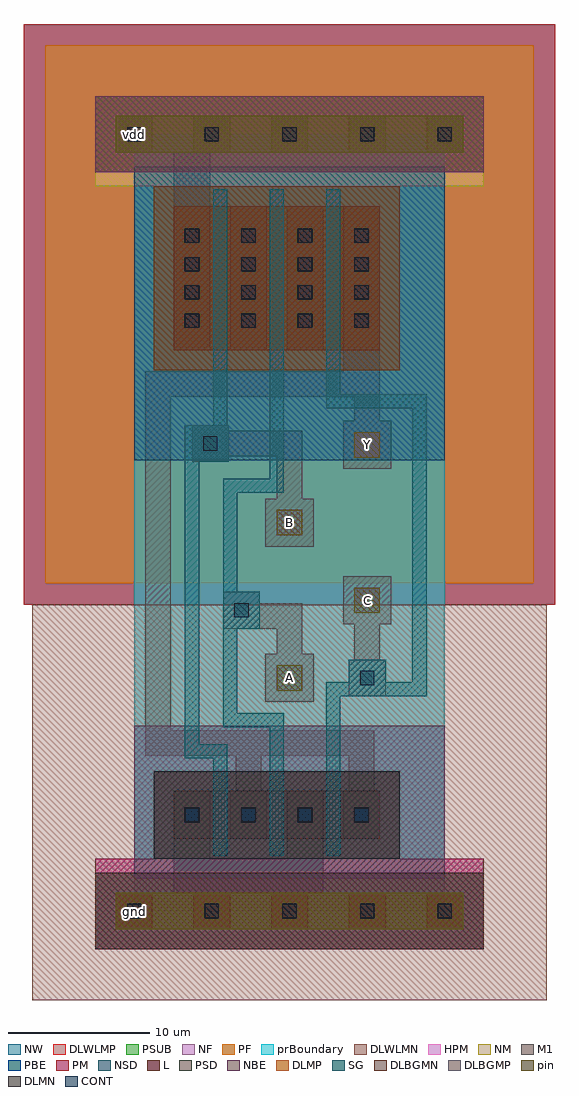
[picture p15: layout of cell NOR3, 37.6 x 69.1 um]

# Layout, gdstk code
import gdstk
lib = gdstk.Library(unit=1e-6, precision=1e-09)
def R(c, l, rs):  # rectangles x0, y0, x1, y1
    for r in rs: c.add(gdstk.rectangle(r[:2], r[2:], *l))
def A(c, l, x, y, w, h, nx, ny, dx, dy):  # array of equal rectangles
    R(c, l, [(x+i*dx, y+j*dy, x+i*dx+w, y+j*dy+h) for i in range(nx) for j in range(ny)])
def P(c, l, *ps):  # polygons
    for p in ps: c.add(gdstk.Polygon(p, *l))
L = (3, 0)
NM = (7, 0)
SG = (8, 0)
PSD = (9, 0)
CONT = (11, 0)
M1 = (13, 0)
NF = (25, 0)
PF = (26, 0)
NSD = (28, 0)
HPM = (33, 0)
PM = (35, 0)
NW = (36, 0)
pin = (48, 1)
PSUB = (140, 0)
PBE = (146, 0)
NBE = (147, 0)
DLWLMP = (150, 0)
DLWLMN = (151, 0)
DLMP = (157, 0)
DLMN = (158, 0)
DLBGMP = (177, 0)
DLBGMN = (178, 0)
prBoundary = (235, 0)

nor3 = lib.new_cell('NOR3')
A(nor3, L, -1.3, -1.3, 2.6, 2.6, 5, 2, 5.5, 55)
R(nor3, L, [(2.8,5.1,17.4,8.5), (2.8,39.7,17.4,49.9)])
R(nor3, NM, [(-2.75,-2.7,24.75,2.7)])
P(nor3, NM, [(1.4,38.3),(1.4,51.3),(-2.75,51.3),(-2.75,57.7),(24.75,57.7),(24.75,51.3),(18.8,51.3),(18.8,38.3)])
P(nor3, SG, [(5.6,3.9),(5.6,10.8),(3.6,10.8),(3.6,34.4),(5.6,34.4),(5.6,51.1),(6.6,51.1),(6.6,34.4),(6.7,34.4),(6.7,31.8),(4.6,31.8),(4.6,11.8),(6.6,11.8),(6.6,3.9)],
  [(9.6,3.9),(9.6,13),(6.3,13),(6.3,30.6),(9.6,30.6),(9.6,51.1),(10.6,51.1),(10.6,29.6),(7.3,29.6),(7.3,22.6),(8.9,22.6),(8.9,20),(7.3,20),(7.3,14),(10.6,14),(10.6,3.9)],
  [(13.6,3.9),(13.6,16.2),(15.2,16.2),(15.2,17.8),(17.8,17.8),(17.8,16.2),(19.7,16.2),(19.7,35.6),(13.6,35.6),(13.6,51.1),(14.6,51.1),(14.6,36.6),(20.7,36.6),(20.7,15.2),(14.6,15.2),(14.6,3.9)])
R(nor3, PSD, [(1.4,3.7,18.8,9.9), (-2.75,52.3,24.75,57.7)])
A(nor3, CONT, -0.5, -0.5, 1, 1, 5, 2, 5.5, 55)
A(nor3, CONT, 3.6, 41.3, 1, 1, 1, 4, 0, 2)
A(nor3, CONT, 15.6, 41.3, 1, 1, 1, 4, 0, 2)
R(nor3, CONT, [(3.6,6.3,4.6,7.3), (7.6,6.3,8.6,7.3), (7.6,6.3,8.6,7.3), (11.6,6.3,12.6,7.3), (11.6,6.3,12.6,7.3), (15.6,6.3,16.6,7.3), (16,16,17,17), (7.1,20.8,8.1,21.8), (4.9,32.6,5.9,33.6), (7.6,41.3,8.6,42.3), (7.6,41.3,8.6,42.3), (11.6,41.3,12.6,42.3), (11.6,41.3,12.6,42.3), (7.6,43.3,8.6,44.3), (7.6,43.3,8.6,44.3), (11.6,43.3,12.6,44.3), (11.6,43.3,12.6,44.3), (7.6,45.3,8.6,46.3), (7.6,45.3,8.6,46.3), (11.6,45.3,12.6,46.3), (11.6,45.3,12.6,46.3), (7.6,47.3,8.6,48.3), (7.6,47.3,8.6,48.3), (11.6,47.3,12.6,48.3), (11.6,47.3,12.6,48.3)])
R(nor3, M1, [(6.8,39.7,9.4,49.9), (10.8,39.7,13.4,49.9)])
P(nor3, M1, [(-1.3,-1.3),(-1.3,1.3),(2.8,1.3),(2.8,8.5),(5.4,8.5),(5.4,3.7),(10.8,3.7),(10.8,8.5),(13.4,8.5),(13.4,1.3),(23.3,1.3),(23.3,-1.3)],
  [(9.3,14.8),(9.3,18.2),(10.1,18.2),(10.1,20),(6.3,20),(6.3,22.6),(8.9,22.6),(8.9,21.8),(11.9,21.8),(11.9,18.2),(12.7,18.2),(12.7,14.8)],
  [(15.2,15.2),(15.2,17.8),(15.6,17.8),(15.6,20.3),(14.8,20.3),(14.8,23.7),(18.2,23.7),(18.2,20.3),(17.4,20.3),(17.4,17.8),(17.8,17.8),(17.8,15.2)],
  [(9.3,25.8),(9.3,29.2),(10.1,29.2),(10.1,32.2),(6.7,32.2),(6.7,31.8),(4.1,31.8),(4.1,34.4),(6.7,34.4),(6.7,34),(11.9,34),(11.9,29.2),(12.7,29.2),(12.7,25.8)],
  [(6.8,5.1),(6.8,8.5),(7.2,8.5),(7.2,11),(0.8,11),(0.8,38.2),(14.8,38.2),(14.8,49.9),(17.4,49.9),(17.4,34.7),(18.2,34.7),(18.2,31.3),(14.8,31.3),(14.8,34.7),(15.6,34.7),(15.6,36.4),(2.6,36.4),(2.6,12.8),(17,12.8),(17,8.5),(17.4,8.5),(17.4,5.1),(14.8,5.1),(14.8,8.5),(15.2,8.5),(15.2,11),(9,11),(9,8.5),(9.4,8.5),(9.4,5.1)],
  [(2.8,39.7),(2.8,53.7),(-1.3,53.7),(-1.3,56.3),(23.3,56.3),(23.3,53.7),(5.4,53.7),(5.4,39.7)])
R(nor3, NF, [(-6.3,23.2,28.3,61.3)])
R(nor3, PF, [(-6.3,23.2,28.3,61.3)])
R(nor3, NSD, [(-2.75,-2.7,24.75,2.7), (1.4,38.3,18.8,51.3)])
P(nor3, HPM, [(-2.75,-2.7),(-2.75,3.7),(1.4,3.7),(1.4,9.9),(18.8,9.9),(18.8,3.7),(24.75,3.7),(24.75,-2.7)],
  [(1.4,38.3),(1.4,51.3),(-2.75,51.3),(-2.75,57.7),(24.75,57.7),(24.75,51.3),(18.8,51.3),(18.8,38.3)])
R(nor3, PM, [(-2.75,52.3,24.75,57.7)])
P(nor3, PM, [(-2.75,-2.7),(-2.75,3.7),(1.4,3.7),(1.4,9.9),(18.8,9.9),(18.8,3.7),(24.75,3.7),(24.75,-2.7)])
R(nor3, NW, [(-7.8,21.7,29.8,62.8)])
R(nor3, pin, [(-1.3,-1.3,23.3,1.3), (10.1,15.6,11.9,17.4), (15.6,21.1,17.4,22.9), (10.1,26.6,11.9,28.4), (15.6,32.1,17.4,33.9), (-1.3,53.7,23.3,56.3)])
R(nor3, PSUB, [(-6.3,23.2,28.3,61.3)])
R(nor3, PBE, [(0,31.9,22,52.7)])
R(nor3, NBE, [(0,2.3,22,13.1)])
R(nor3, DLWLMP, [(-7.8,21.7,29.8,62.8)])
R(nor3, DLWLMN, [(-7.2,-6.3,29.2,21.7)])
R(nor3, DLMP, [(1.4,38.3,18.8,51.3)])
R(nor3, DLMN, [(1.4,3.7,18.8,9.9)])
R(nor3, DLBGMP, [(-2.75,52.3,24.75,57.7)])
R(nor3, DLBGMN, [(-2.75,-2.7,24.75,2.7)])
R(nor3, prBoundary, [(0,0,22,55)])
nor3.add(gdstk.Label('Y', (16.5,33), layer=48, texttype=0))
nor3.add(gdstk.Label('A', (11,16.5), layer=48, texttype=0))
nor3.add(gdstk.Label('B', (11,27.5), layer=48, texttype=0))
nor3.add(gdstk.Label('C', (16.5,22), layer=48, texttype=0))
nor3.add(gdstk.Label('vdd', (0,55), layer=48, texttype=0))
nor3.add(gdstk.Label('gnd', (0,0), layer=48, texttype=0))

lib.write_gds('NOR3.gds')
